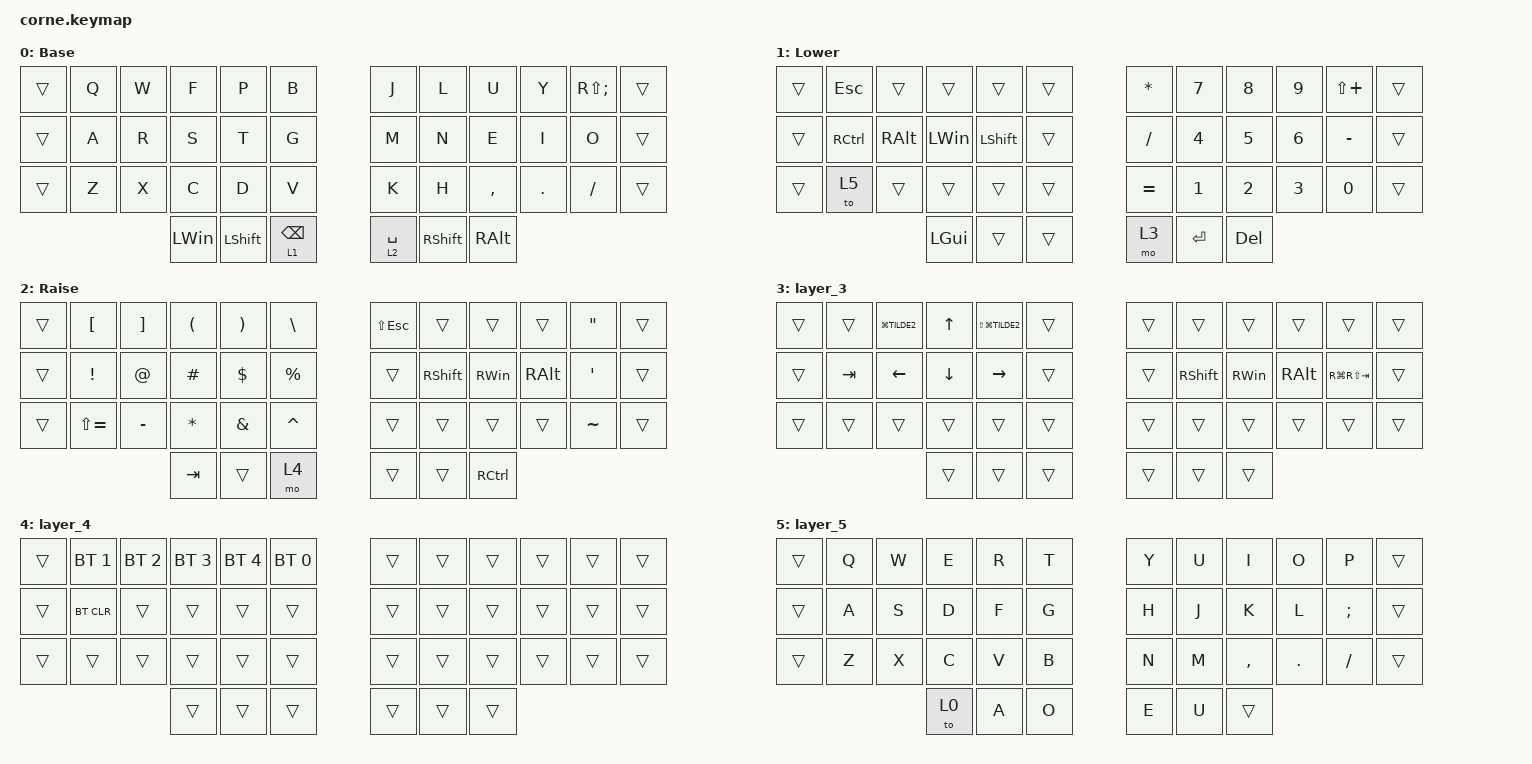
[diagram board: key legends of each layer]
/*
 * Copyright (c) 2020 The ZMK Contributors
 *
 * SPDX-License-Identifier: MIT
 */

#include <behaviors.dtsi>
#include <dt-bindings/zmk/bt.h>
#include <dt-bindings/zmk/keys.h>

/ {
    combos { compatible = "zmk,combos"; };

    keymap {
        compatible = "zmk,keymap";

        default_layer {
            // -----------------------------------------------------------------------------------------
            // |  TAB |  Q  |  W  |  E  |  R  |  T  |   |  Y  |  U   |  I  |  O  |  P  | BKSP |
            // | CTRL |  A  |  S  |  D  |  F  |  G  |   |  H  |  J   |  K  |  L  |  ;  |  '   |
            // | SHFT |  Z  |  X  |  C  |  V  |  B  |   |  N  |  M   |  ,  |  .  |  /  | ESC  |
            //                    | GUI | LWR | SPC |   | ENT | RSE  | ALT |

            label = "Base";
            bindings = <
&trans  &kp Q  &kp W  &kp F         &kp P       &kp B              &kp J        &kp L       &kp U      &kp Y    &kp RS(SEMICOLON)  &trans
&trans  &kp A  &kp R  &kp S         &kp T       &kp G              &kp M        &kp N       &kp E      &kp I    &kp O              &trans
&trans  &kp Z  &kp X  &kp C         &kp D       &kp V              &kp K        &kp H       &kp COMMA  &kp DOT  &kp FSLH           &trans
                      &kp LEFT_WIN  &kp LSHIFT  &lt 1 BACKSPACE    &lt 2 SPACE  &kp RSHIFT  &kp RALT
            >;
        };

        lower_layer {
            // -----------------------------------------------------------------------------------------
            // |  TAB |  1  |  2  |  3  |  4  |  5  |   |  6  |  7  |  8  |  9  |  0  | BKSP |
            // | BTCLR| BT1 | BT2 | BT3 | BT4 | BT5 |   | LFT | DWN |  UP | RGT |     |      |
            // | SHFT |     |     |     |     |     |   |     |     |     |     |     |      |
            //                    | GUI |     | SPC |   | ENT |     | ALT |

            label = "Lower";
            bindings = <
&trans  &kp ESC            &trans         &trans        &trans          &trans    &kp ASTERISK  &kp N7        &kp N8        &kp N9        &kp LS(PLUS)  &trans
&trans  &kp RIGHT_CONTROL  &kp RIGHT_ALT  &kp LEFT_WIN  &kp LEFT_SHIFT  &trans    &kp SLASH     &kp NUMBER_4  &kp NUMBER_5  &kp NUMBER_6  &kp MINUS     &trans
&trans  &to 5              &trans         &trans        &trans          &trans    &kp EQUAL     &kp NUMBER_1  &kp NUMBER_2  &kp NUMBER_3  &kp NUMBER_0  &trans
                                          &kp LGUI      &trans          &trans    &mo 3         &kp RETURN    &kp DELETE
            >;
        };

        raise_layer {
            // -----------------------------------------------------------------------------------------
            // |  TAB |  !  |  @  |  #  |  $  |  %  |   |  ^  |  &  |  *  |  (  |  )  | BKSP |
            // | CTRL |     |     |     |     |     |   |  -  |  =  |  [  |  ]  |  \  |  `   |
            // | SHFT |     |     |     |     |     |   |  _  |  +  |  {  |  }  | "|" |  ~   |
            //                    | GUI |     | SPC |   | ENT |     | ALT |

            label = "Raise";
            bindings = <
&trans  &kp LEFT_BRACKET  &kp RIGHT_BRACKET  &kp LEFT_PARENTHESIS  &kp RIGHT_PARENTHESIS  &kp BACKSLASH    &kp LS(ESCAPE)  &trans           &trans             &trans         &kp DOUBLE_QUOTES  &trans
&trans  &kp EXCLAMATION   &kp AT             &kp HASH              &kp DOLLAR             &kp PERCENT      &trans          &kp RIGHT_SHIFT  &kp RIGHT_WIN      &kp RIGHT_ALT  &kp SQT            &trans
&trans  &kp LS(EQUAL)     &kp MINUS          &kp ASTRK             &kp AMPERSAND          &kp CARET        &trans          &trans           &trans             &trans         &kp TILDE          &trans
                                             &kp TAB               &trans                 &mo 4            &trans          &trans           &kp RIGHT_CONTROL
            >;
        };

        layer_3 {
            bindings = <
&trans  &trans   &kp LG(TILDE2)  &kp UP_ARROW    &kp LS(LG(TILDE2))  &trans    &trans  &trans           &trans         &trans         &trans           &trans
&trans  &kp TAB  &kp LEFT        &kp DOWN_ARROW  &kp RIGHT           &trans    &trans  &kp RIGHT_SHIFT  &kp RIGHT_WIN  &kp RIGHT_ALT  &kp RG(RS(TAB))  &trans
&trans  &trans   &trans          &trans          &trans              &trans    &trans  &trans           &trans         &trans         &trans           &trans
                                 &trans          &trans              &trans    &trans  &trans           &trans
            >;
        };

        layer_4 {
            bindings = <
&trans  &bt BT_SEL 1  &bt BT_SEL 2  &bt BT_SEL 3  &bt BT_SEL 4  &bt BT_SEL 0    &trans  &trans  &trans  &trans  &trans  &trans
&trans  &bt BT_CLR    &trans        &trans        &trans        &trans          &trans  &trans  &trans  &trans  &trans  &trans
&trans  &trans        &trans        &trans        &trans        &trans          &trans  &trans  &trans  &trans  &trans  &trans
                                    &trans        &trans        &trans          &trans  &trans  &trans
            >;
        };

        layer_5 {
            bindings = <
&trans  &kp Q  &kp W  &kp E  &kp R  &kp T    &kp Y  &kp U  &kp I      &kp O       &kp P          &trans
&trans  &kp A  &kp S  &kp D  &kp F  &kp G    &kp H  &kp J  &kp K      &kp L       &kp SEMICOLON  &trans
&trans  &kp Z  &kp X  &kp C  &kp V  &kp B    &kp N  &kp M  &kp COMMA  &kp PERIOD  &kp SLASH      &trans
                      &to 0  &kp A  &kp O    &kp E  &kp U  &trans
            >;
        };
    };
};
